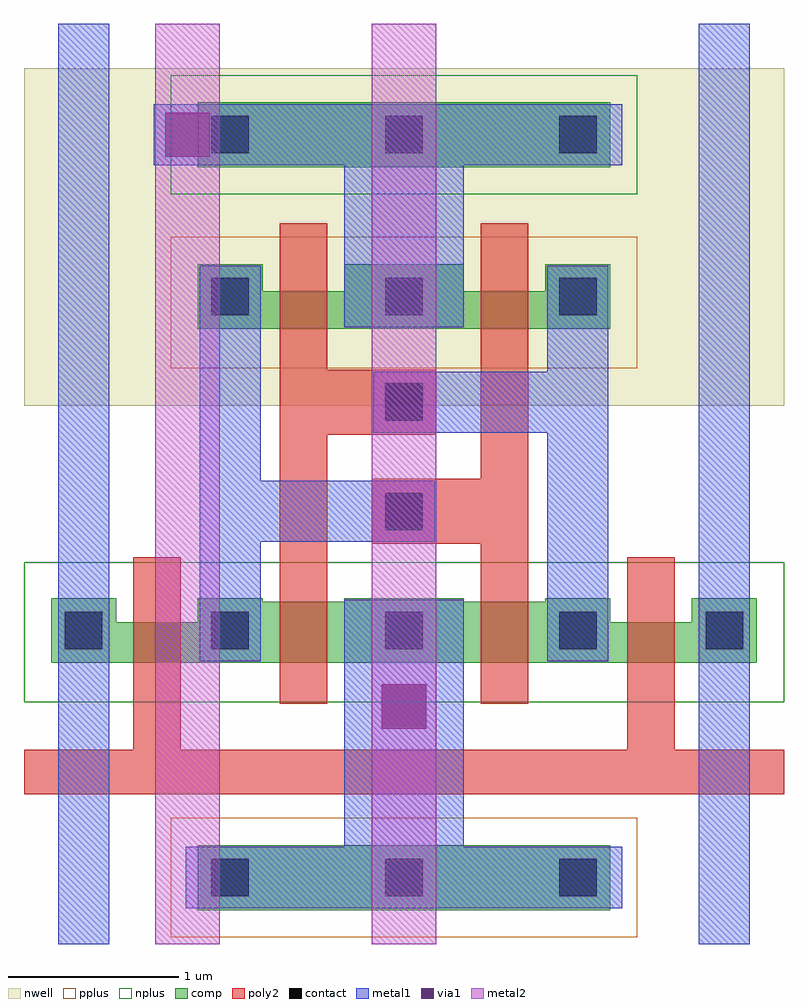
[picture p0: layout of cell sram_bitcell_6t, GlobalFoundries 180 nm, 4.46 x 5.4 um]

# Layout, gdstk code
import gdstk
lib = gdstk.Library(unit=1e-6, precision=1e-09)
def R(c, l, rs):  # rectangles x0, y0, x1, y1
    for r in rs: c.add(gdstk.rectangle(r[:2], r[2:], *l))
def A(c, l, x, y, w, h, nx, ny, dx, dy):  # array of equal rectangles
    R(c, l, [(x+i*dx, y+j*dy, x+i*dx+w, y+j*dy+h) for i in range(nx) for j in range(ny)])
def P(c, l, *ps):  # polygons
    for p in ps: c.add(gdstk.Polygon(p, *l))
nwell = (21, 0)
comp = (22, 0)
poly2 = (30, 0)
pplus = (31, 0)
nplus = (32, 0)
contact = (33, 0)
metal1 = (34, 0)
via1 = (35, 0)
metal2 = (36, 0)

sram_bitcell_6t = lib.new_cell('sram_bitcell_6t')
R(sram_bitcell_6t, nwell, [(0,3.16,4.46,5.14)])
R(sram_bitcell_6t, comp, [(1.02,0.2,3.44,0.58), (1.02,4.56,3.44,4.94)])
P(sram_bitcell_6t, comp, [(0.16,1.65),(0.16,2.03),(0.54,2.03),(0.54,1.89),(1.02,1.89),(1.02,2.03),(1.4,2.03),(1.4,2.01),(1.88,2.01),(1.88,2.03),(2.58,2.03),(2.58,2.01),(3.06,2.01),(3.06,2.03),(3.44,2.03),(3.44,1.89),(3.92,1.89),(3.92,2.03),(4.3,2.03),(4.3,1.65)],
  [(1.02,3.61),(1.02,3.99),(1.4,3.99),(1.4,3.83),(1.88,3.83),(1.88,3.99),(2.58,3.99),(2.58,3.83),(3.06,3.83),(3.06,3.99),(3.44,3.99),(3.44,3.61)])
P(sram_bitcell_6t, poly2, [(0,0.88),(0,1.14),(0.64,1.14),(0.64,2.27),(0.92,2.27),(0.92,1.14),(3.54,1.14),(3.54,2.27),(3.82,2.27),(3.82,1.14),(4.46,1.14),(4.46,0.88)],
  [(1.5,1.41),(1.5,4.23),(1.78,4.23),(1.78,3.37),(2.42,3.37),(2.42,2.99),(1.78,2.99),(1.78,1.41)],
  [(2.68,1.41),(2.68,2.35),(2.04,2.35),(2.04,2.73),(2.68,2.73),(2.68,4.23),(2.96,4.23),(2.96,1.41)])
R(sram_bitcell_6t, pplus, [(0.86,0.04,3.6,0.74), (0.86,3.38,3.6,4.15)])
R(sram_bitcell_6t, nplus, [(0,1.42,4.46,2.24), (0.86,4.4,3.6,5.1)])
A(sram_bitcell_6t, contact, 1.1, 0.28, 0.22, 0.22, 3, 2, 1.02, 1.45)
A(sram_bitcell_6t, contact, 1.1, 3.69, 0.22, 0.22, 3, 2, 1.02, 0.95)
R(sram_bitcell_6t, contact, [(0.24,1.73,0.46,1.95), (4,1.73,4.22,1.95), (2.12,2.43,2.34,2.65), (2.12,3.07,2.34,3.29)])
R(sram_bitcell_6t, metal1, [(0.2,0,0.5,5.4), (3.96,0,4.26,5.4)])
P(sram_bitcell_6t, metal1, [(0.95,0.21),(0.95,0.57),(1.88,0.57),(1.88,2.02),(2.58,2.02),(2.58,0.57),(3.51,0.57),(3.51,0.21)],
  [(1.03,1.66),(1.03,3.98),(1.39,3.98),(1.39,2.72),(2.41,2.72),(2.41,2.36),(1.39,2.36),(1.39,1.66)],
  [(3.07,1.66),(3.07,3),(2.05,3),(2.05,3.36),(3.07,3.36),(3.07,3.98),(3.43,3.98),(3.43,1.66)],
  [(1.88,3.62),(1.88,4.57),(0.76,4.57),(0.76,4.93),(3.51,4.93),(3.51,4.57),(2.58,4.57),(2.58,3.62)])
R(sram_bitcell_6t, via1, [(2.1,1.265,2.36,1.525), (0.83,4.62,1.09,4.88)])
R(sram_bitcell_6t, metal2, [(0.77,0,1.15,5.4), (2.04,0,2.42,5.4)])

lib.write_gds('sram_bitcell_6t.gds')
